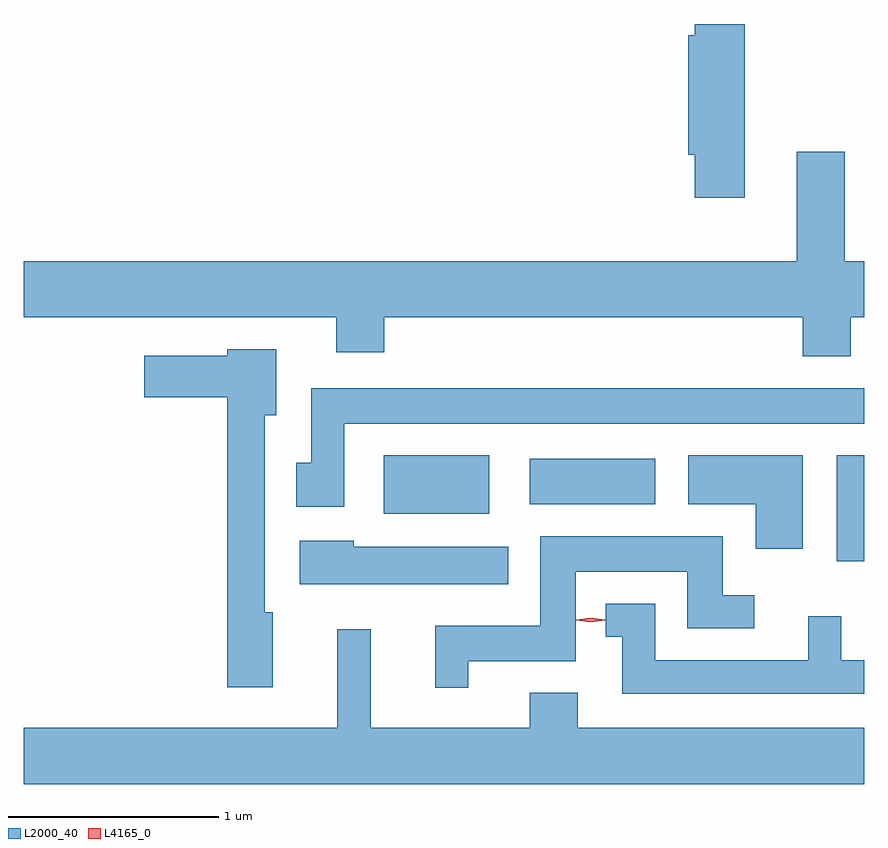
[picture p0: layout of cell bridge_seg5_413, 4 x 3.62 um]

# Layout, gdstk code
import gdstk
lib = gdstk.Library(unit=1e-6, precision=1e-09)
def R(c, l, rs):  # rectangles x0, y0, x1, y1
    for r in rs: c.add(gdstk.rectangle(r[:2], r[2:], *l))
def P(c, l, *ps):  # polygons
    for p in ps: c.add(gdstk.Polygon(p, *l))
L2000_40 = (2000, 40)
L4165_0 = (4165, 0)

bridge_seg5_413 = lib.new_cell('bridge_seg5_413')
R(bridge_seg5_413, L2000_40, [(382.101,1511.136,382.233,1511.639), (379.946,1511.361,380.449,1511.639), (380.641,1511.406,381.239,1511.624)])
P(bridge_seg5_413, L2000_40, [(381.664,1513.692),(381.426,1513.692),(381.426,1513.639),(381.396,1513.639),(381.396,1513.071),(381.426,1513.071),(381.426,1512.866),(381.664,1512.866)],
  [(382.169,1512.296),(382.233,1512.296),(382.233,1512.564),(382.139,1512.564),(382.139,1513.084),(381.911,1513.084),(381.911,1512.564),(378.233,1512.564),(378.233,1512.296),(379.721,1512.296),(379.721,1512.131),(379.949,1512.131),(379.949,1512.296),(381.941,1512.296),(381.941,1512.111),(382.169,1512.111)],
  [(379.419,1510.894),(379.379,1510.894),(379.379,1511.831),(379.434,1511.831),(379.434,1512.144),(379.201,1512.144),(379.201,1512.114),(378.806,1512.114),(378.806,1511.916),(379.201,1511.916),(379.201,1510.536),(379.419,1510.536)],
  [(379.759,1511.791),(382.233,1511.791),(382.233,1511.959),(379.601,1511.959),(379.601,1511.604),(379.531,1511.604),(379.531,1511.396),(379.759,1511.396)],
  [(381.939,1511.639),(381.396,1511.639),(381.396,1511.406),(381.716,1511.406),(381.716,1511.196),(381.939,1511.196)],
  [(380.349,1510.661),(380.859,1510.661),(380.859,1511.086),(381.391,1511.086),(381.391,1510.816),(381.708,1510.816),(381.708,1510.974),(381.559,1510.974),(381.559,1511.254),(380.691,1511.254),(380.691,1510.829),(380.191,1510.829),(380.191,1510.533),(380.349,1510.533)],
  [(380.539,1511.204),(379.804,1511.204),(379.804,1511.234),(379.546,1511.234),(379.546,1511.026),(380.539,1511.026)],
  [(382.233,1510.664),(382.124,1510.664),(382.124,1510.873),(381.966,1510.873),(381.966,1510.664),(381.239,1510.664),(381.239,1510.934),(381.003,1510.934),(381.003,1510.776),(381.081,1510.776),(381.081,1510.506),(382.233,1510.506)],
  [(382.233,1510.344),(380.869,1510.344),(380.869,1510.509),(380.641,1510.509),(380.641,1510.344),(379.884,1510.344),(379.884,1510.813),(379.726,1510.813),(379.726,1510.344),(378.233,1510.344),(378.233,1510.076),(382.233,1510.076)])
P(bridge_seg5_413, L4165_0, [(380.932,1510.846),(380.862,1510.856),(380.862,1510.857),(380.862,1510.857),(380.932,1510.866),(381.001,1510.857),(381.001,1510.856),(381.001,1510.856)])

lib.write_gds('bridge_seg5_413.gds')
